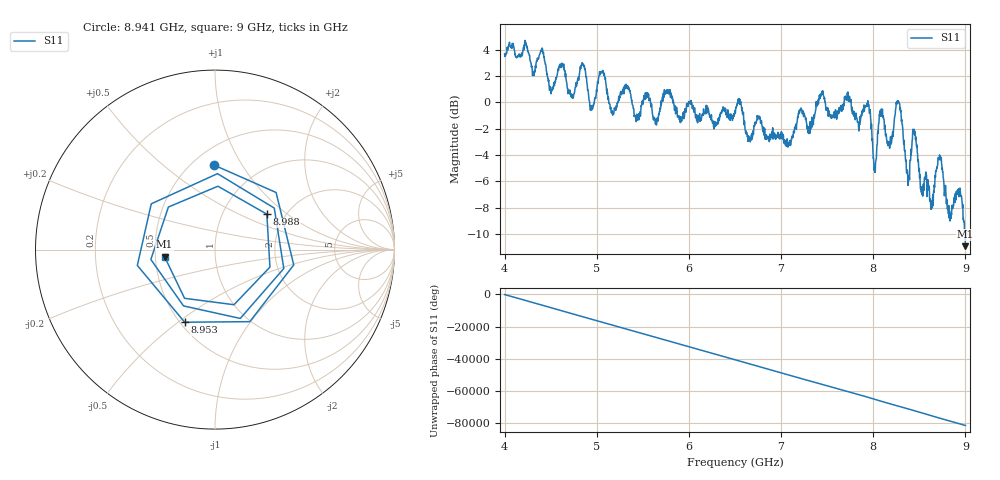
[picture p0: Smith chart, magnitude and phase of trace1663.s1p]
! Created with skrf 1.8.0 (http://scikit-rf.org).
# Hz S RI R 50.0
!freq ReS11 ImS11
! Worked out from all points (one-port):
!   1601 points, 4 GHz to 9 GHz, reference 50 ohm
!   lowest |S11| = -10.9 dB at 9 GHz (marker M1), VSWR 1.79, Z = 28 - j2.39 ohm
!   |S11| at or under -10 dB: 8.997298 GHz to end of sweep
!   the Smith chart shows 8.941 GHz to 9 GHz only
!   S11 on the Smith chart (normalised r, x): 8.941 GHz: 0.63, +0.76; 8.953 GHz: 0.53, -0.53; 8.988 GHz: 1.61, +0.73; 9 GHz: 0.56, -0.05
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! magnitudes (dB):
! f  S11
! 4 GHz  3.7
! 4.403 GHz  3.9
! 4.506 GHz  0.8
! 4.625 GHz  2.8
! 4.731 GHz  0.4
! 4.853 GHz  2.9
! 4.947 GHz  -0.5
! 5.05 GHz  2.3
! 5.162 GHz  -0.6
! 5.25 GHz  0.3
! 5.875 GHz  -1.1
! 6.5 GHz  -0.6
! 7.125 GHz  -2.6
! 7.75 GHz  0.0
! 7.944 GHz  0.0
! 8.019 GHz  -5.3
! 8.081 GHz  -0.7
! 8.175 GHz  -3.0
! 8.275 GHz  0.1
! 8.375 GHz  -5.6
! 8.447 GHz  -2.4
! 8.625 GHz  -8.1
! 8.719 GHz  -4.0
! 8.825 GHz  -8.8
! 8.941 GHz  -6.5
! 8.953 GHz  -7.2
! 8.988 GHz  -9.1
! 9 GHz  -10.9
